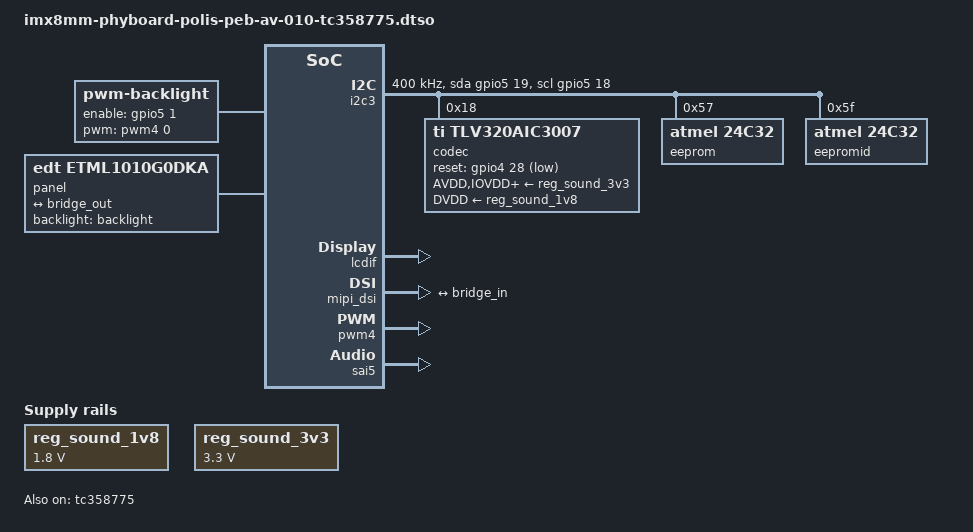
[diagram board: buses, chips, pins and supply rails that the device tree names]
// SPDX-License-Identifier: GPL-2.0
/*
 * Copyright (C) 2022 PHYTEC Messtechnik GmbH
 * Author: Teresa Remmet <t.remmet@phytec.de>
 * Supports PEB-AV-010 conntect to a toshiba tc358775 bridge
 */

/dts-v1/;
/plugin/;

#include <dt-bindings/clock/imx8mm-clock.h>
#include <dt-bindings/gpio/gpio.h>
#include "../imx8mm-pinfunc.h"

&{/} {
	compatible = "phytec,imx8mm-phyboard-polis";

	backlight: backlight {
		compatible = "pwm-backlight";
		pinctrl-names = "default";
		pinctrl-0 = <&pinctrl_lcd>;
		default-brightness-level = <6>;
		pwms = <&pwm4 0 50000 0>;
		enable-gpios = <&gpio5 1 GPIO_ACTIVE_HIGH>;
		brightness-levels= <0 4 8 16 32 64 128 255>;
	};

	panel {
		compatible = "edt,etml1010g0dka";
		backlight = <&backlight>;

		port {
			panel_in: endpoint {
				remote-endpoint = <&bridge_out>;
			};
		};
	};

	reg_sound_1v8: regulator-1v8 {
		compatible = "regulator-fixed";
		regulator-name = "VCC-1V8-Audio";
		regulator-min-microvolt = <1800000>;
		regulator-max-microvolt = <1800000>;
	};

	reg_sound_3v3: regulator-3v3 {
		compatible = "regulator-fixed";
		regulator-name = "VCC-3V3-Audio";
		regulator-min-microvolt = <3300000>;
		regulator-max-microvolt = <3300000>;
	};

	sound-peb-av-10 {
		compatible = "simple-audio-card";
		simple-audio-card,name = "snd-peb-av-10";
		simple-audio-card,format = "i2s";
		simple-audio-card,bitclock-master = <&dailink_master>;
		simple-audio-card,frame-master = <&dailink_master>;
		simple-audio-card,mclk-fs = <32>;
		simple-audio-card,widgets =
			"Line", "Line In",
			"Speaker", "Speaker",
			"Microphone", "Microphone Jack",
			"Headphone", "Headphone Jack";
		simple-audio-card,routing =
			"Speaker", "SPOP",
			"Speaker", "SPOM",
			"Headphone Jack", "HPLOUT",
			"Headphone Jack", "HPROUT",
			"LINE1L", "Line In",
			"LINE1R", "Line In",
			"MIC3R", "Microphone Jack",
			"Microphone Jack", "Mic Bias";

		simple-audio-card,cpu {
			sound-dai = <&sai5>;
		};

		dailink_master: simple-audio-card,codec {
			sound-dai = <&codec>;
			clocks = <&clk IMX8MM_CLK_SAI5>;
		};
	};
};

&i2c3 {
	clock-frequency = <400000>;
	pinctrl-names = "default", "gpio";
	pinctrl-0 = <&pinctrl_i2c3>;
	pinctrl-1 = <&pinctrl_i2c3_gpio>;
	sda-gpios = <&gpio5 19 (GPIO_ACTIVE_HIGH | GPIO_OPEN_DRAIN)>;
	scl-gpios = <&gpio5 18 (GPIO_ACTIVE_HIGH | GPIO_OPEN_DRAIN)>;
	status = "okay";

	#address-cells = <0x1>;
	#size-cells = <0x0>;

	codec: codec@18 {
		compatible = "ti,tlv320aic3007";
		pinctrl-names = "default";
		pinctrl-0 = <&pinctrl_tlv320>;
		#sound-dai-cells = <0>;
		reg = <0x18>;
		reset-gpios = <&gpio4 28 GPIO_ACTIVE_LOW>;
		ai3x-gpio-func = <0xd 0x0>;
		ai3x-micbias-vg = <2>;
		AVDD-supply = <&reg_sound_3v3>;
		IOVDD-supply = <&reg_sound_3v3>;
		DRVDD-supply = <&reg_sound_3v3>;
		DVDD-supply = <&reg_sound_1v8>;
	};

	eeprom@57 {
		compatible = "atmel,24c32";
		pagesize = <32>;
		reg = <0x57>;
	};

	eepromid@5f {
		compatible = "atmel,24c32";
		pagesize = <32>;
		reg = <0x5f>;
		size = <32>;
	};
};

&lcdif {
	status = "okay";
};

&mipi_dsi {
	status = "okay";

	#address-cells = <0x1>;
	#size-cells = <0x0>;

	port@1 {
		reg = <1>;
		dsi_out: endpoint {
			remote-endpoint = <&bridge_in>;
			attach-bridge;
			data-lanes = <0 1 2 3>;
		};
	};
};

&pwm4 {
	pinctrl-names = "default";
	pinctrl-0 = <&pinctrl_pwm4>;
	status = "okay";
};

&sai5 {
	assigned-clocks = <&clk IMX8MM_CLK_SAI5>;
	assigned-clock-parents = <&clk IMX8MM_AUDIO_PLL2_OUT>;
	assigned-clock-rates = <11289600>;
	clocks = <&clk IMX8MM_CLK_SAI5_IPG>, <&clk IMX8MM_CLK_DUMMY>,
		<&clk IMX8MM_CLK_SAI5_ROOT>, <&clk IMX8MM_CLK_DUMMY>,
		<&clk IMX8MM_CLK_DUMMY>, <&clk IMX8MM_AUDIO_PLL1_OUT>,
		<&clk IMX8MM_AUDIO_PLL2_OUT>;
	clock-names = "bus", "mclk0", "mclk1", "mclk2", "mclk3", "pll8k",
			"pll11k";
	fsl,sai-mclk-direction-output;
	pinctrl-names = "default";
	pinctrl-0 = <&pinctrl_sai5>;
	#sound-dai-cells = <0>;
	status = "okay";

};

&tc358775 {
	status = "okay";

	ports {
		#address-cells = <1>;
		#size-cells = <0>;

		port@0 {
			reg = <0>;

			bridge_in: endpoint {
				remote-endpoint = <&dsi_out>;
			};
		};

		port@1 {
			reg = <1>;

			bridge_out: endpoint {
				remote-endpoint = <&panel_in>;
			};
		};
	};
};

&iomuxc {

	pinctrl_i2c3: i2c3grp {
		fsl,pins = <
			MX8MM_IOMUXC_I2C3_SCL_I2C3_SCL          0x400001c3
			MX8MM_IOMUXC_I2C3_SDA_I2C3_SDA          0x400001c3
		>;
	};

	pinctrl_i2c3_gpio: i2c3gpiogrp {
		fsl,pins = <
			MX8MM_IOMUXC_I2C3_SCL_GPIO5_IO18        0x1e3
			MX8MM_IOMUXC_I2C3_SDA_GPIO5_IO19        0x1e3
		>;
	};
	pinctrl_lcd: lcd0grp {
		fsl,pins = <
			MX8MM_IOMUXC_SAI3_TXD_GPIO5_IO1		0x12
		>;
	};

	pinctrl_pwm4: pwm4grp {
		fsl,pins = <
			MX8MM_IOMUXC_SAI3_MCLK_PWM4_OUT		0x12
		>;
	};

	pinctrl_sai5: sai5grp {
		fsl,pins = <
			MX8MM_IOMUXC_SAI5_MCLK_SAI5_MCLK        0xd6
			MX8MM_IOMUXC_SAI5_RXD0_SAI5_RX_DATA0    0xd6
			MX8MM_IOMUXC_SAI5_RXD1_SAI5_TX_SYNC     0xd6
			MX8MM_IOMUXC_SAI5_RXD2_SAI5_TX_BCLK     0xd6
			MX8MM_IOMUXC_SAI5_RXD3_SAI5_TX_DATA0    0xd6
		>;
	};

	pinctrl_tlv320: tlv320grp {
		fsl,pins = <
			MX8MM_IOMUXC_SAI3_RXFS_GPIO4_IO28       0x16
			MX8MM_IOMUXC_SAI5_RXC_GPIO3_IO20        0x16
		>;
	};
};
